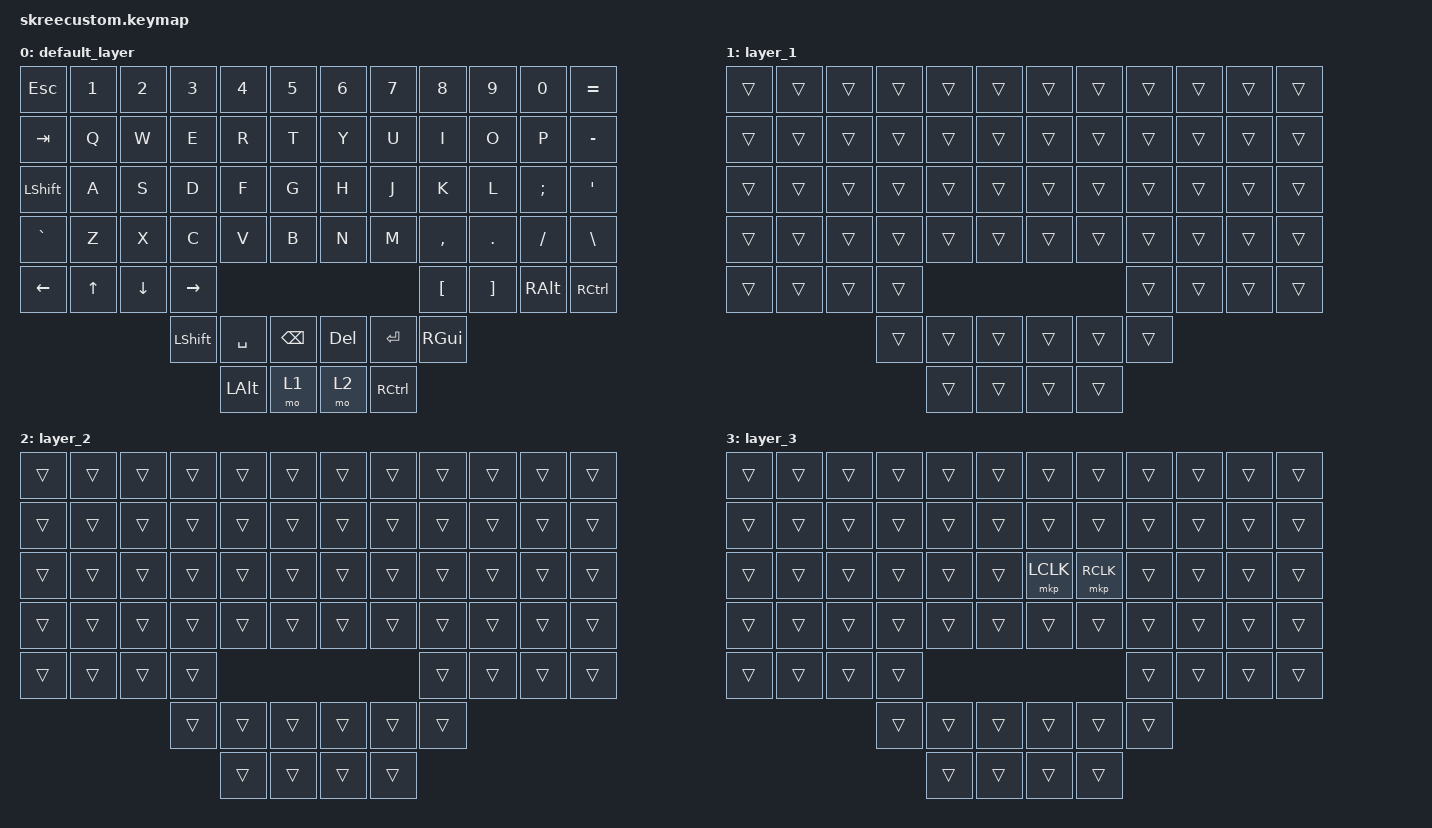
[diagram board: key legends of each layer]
/*
 * Copyright (c) 2020 The ZMK Contributors
 *
 * SPDX-License-Identifier: MIT
 */
//#include <behaviors/mouse_keys.dtsi>

#include <input/processors.dtsi>
#include <dt-bindings/zmk/input_transform.h>
#include <behaviors.dtsi>
#include <dt-bindings/zmk/keys.h>
#include <dt-bindings/zmk/pointing.h>

/ {
    keymap {
        compatible = "zmk,keymap";

        default_layer {
            bindings = <
&kp ESC    &kp N1  &kp N2    &kp N3     &kp N4     &kp N5      &kp N6   &kp N7     &kp N8     &kp N9    &kp N0    &kp EQUAL
&kp TAB    &kp Q   &kp W     &kp E      &kp R      &kp T       &kp Y    &kp U      &kp I      &kp O     &kp P     &kp MINUS
&kp LSHFT  &kp A   &kp S     &kp D      &kp F      &kp G       &kp H    &kp J      &kp K      &kp L     &kp SEMI  &kp SQT
&kp GRAVE  &kp Z   &kp X     &kp C      &kp V      &kp B       &kp N    &kp M      &kp COMMA  &kp DOT   &kp FSLH  &kp BSLH
&kp LEFT   &kp UP  &kp DOWN  &kp RIGHT                                             &kp LBKT   &kp RBKT  &kp RALT  &kp RCTRL
                             &kp LSHFT  &kp SPACE  &kp BSPC    &kp DEL  &kp RET    &kp RGUI
                                        &kp LALT   &mo 1       &mo 2    &kp RCTRL
            >;
        };

        layer_1 {
            bindings = <
&trans  &trans  &trans  &trans  &trans  &trans    &trans  &trans  &trans  &trans  &trans  &trans
&trans  &trans  &trans  &trans  &trans  &trans    &trans  &trans  &trans  &trans  &trans  &trans
&trans  &trans  &trans  &trans  &trans  &trans    &trans  &trans  &trans  &trans  &trans  &trans
&trans  &trans  &trans  &trans  &trans  &trans    &trans  &trans  &trans  &trans  &trans  &trans
&trans  &trans  &trans  &trans                                    &trans  &trans  &trans  &trans
                        &trans  &trans  &trans    &trans  &trans  &trans
                                &trans  &trans    &trans  &trans
            >;
        };

        layer_2 {
            bindings = <
&trans  &trans  &trans  &trans  &trans  &trans    &trans  &trans  &trans  &trans  &trans  &trans
&trans  &trans  &trans  &trans  &trans  &trans    &trans  &trans  &trans  &trans  &trans  &trans
&trans  &trans  &trans  &trans  &trans  &trans    &trans  &trans  &trans  &trans  &trans  &trans
&trans  &trans  &trans  &trans  &trans  &trans    &trans  &trans  &trans  &trans  &trans  &trans
&trans  &trans  &trans  &trans                                    &trans  &trans  &trans  &trans
                        &trans  &trans  &trans    &trans  &trans  &trans
                                &trans  &trans    &trans  &trans
            >;
        };

        layer_3 {
            bindings = <
&trans  &trans  &trans  &trans  &trans  &trans    &trans     &trans     &trans  &trans  &trans  &trans
&trans  &trans  &trans  &trans  &trans  &trans    &trans     &trans     &trans  &trans  &trans  &trans
&trans  &trans  &trans  &trans  &trans  &trans    &mkp LCLK  &mkp RCLK  &trans  &trans  &trans  &trans
&trans  &trans  &trans  &trans  &trans  &trans    &trans     &trans     &trans  &trans  &trans  &trans
&trans  &trans  &trans  &trans                                          &trans  &trans  &trans  &trans
                        &trans  &trans  &trans    &trans     &trans     &trans
                                &trans  &trans    &trans     &trans
            >;
        };
    };
};

// //right hand trackball overrides
// &trackball_peripheral_listener {
//     input-processors =
//         <&zip_xy_transform INPUT_TRANSFORM_XY_SWAP>,//this gets it to the default installation orientation
//         <&zip_temp_layer 3 500>;//activate layer 3 within 500ms of the trackball moving
// };
// //left hand trackball overrides
// &trackball_central_listener {
//     input-processors = 
//         <&zip_xy_transform INPUT_TRANSFORM_XY_SWAP>,//this gets it to the default installation orientation
//         <&zip_xy_scaler 1 3>,//multiply sensitivity by 1, divide by 3 (make it slower for scrolling)
//         <&zip_xy_to_scroll_mapper>,//make this trackball output scrolling events by default instead of cursor movement
//         <&zip_scroll_transform INPUT_TRANSFORM_Y_INVERT>;//invert vertical scrolling so that the view moves in the same direction as the top of the trackball.
// };
